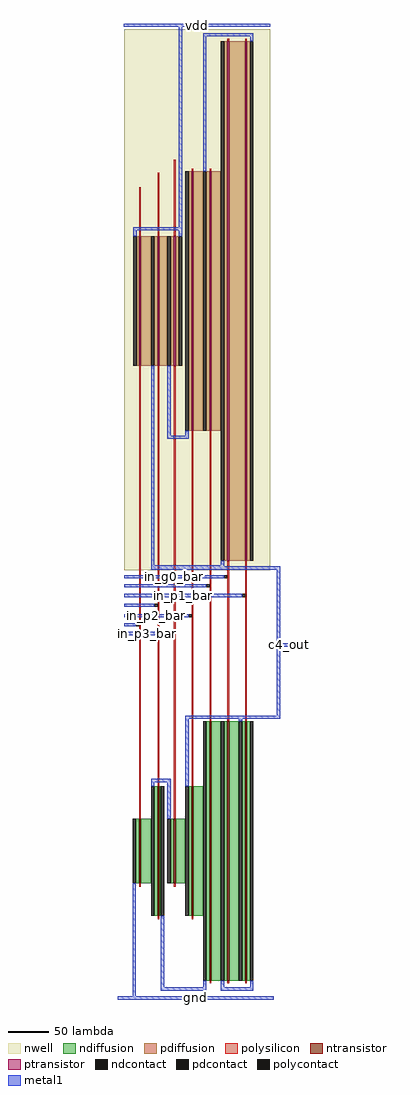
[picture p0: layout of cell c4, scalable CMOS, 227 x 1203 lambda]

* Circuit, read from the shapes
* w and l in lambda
.subckt c4 c4_out gnd in_g0_bar in_g1_bar in_g2_bar in_g3_bar in_p1_bar in_p2_bar in_p3_bar vdd
M1 n1 in_g3_bar gnd VSUBS nfet w=80 l=2
M2 n2 in_g2_bar n1 VSUBS nfet w=160 l=2
M3 c4_out in_p3_bar n1 VSUBS nfet w=80 l=2
M4 n2 in_p2_bar c4_out VSUBS nfet w=160 l=2
M5 n3 in_g1_bar n2 VSUBS nfet w=320 l=2
M6 c4_out in_g0_bar n3 VSUBS nfet w=320 l=2
M7 n3 in_p1_bar c4_out VSUBS nfet w=320 l=2
M8 c4_out in_g3_bar vdd n4 pfet w=160 l=2
M9 n5 in_g2_bar c4_out n4 pfet w=160 l=2
M10 vdd in_p3_bar n5 n4 pfet w=160 l=2
M11 n6 in_p2_bar n5 n4 pfet w=320 l=2
M12 c4_out in_g1_bar n6 n4 pfet w=320 l=2
M13 n7 in_g0_bar c4_out n4 pfet w=640 l=2
M14 n6 in_p1_bar n7 n4 pfet w=640 l=2
.ends

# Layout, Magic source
magic
tech scmos
<< nwell >>
rect -67 -12 113 655
<< ntransistor >>
rect -49 -398 -47 -318
rect -26 -438 -24 -278
rect -6 -398 -4 -318
rect 16 -438 18 -278
rect 38 -518 40 -198
rect 60 -518 62 -198
rect 82 -518 84 -198
<< ptransistor >>
rect -49 240 -47 400
rect -26 240 -24 400
rect -6 240 -4 400
rect 16 160 18 480
rect 38 160 40 480
rect 60 0 62 640
rect 82 0 84 640
<< ndiffusion >>
rect -53 -398 -49 -318
rect -47 -398 -34 -318
rect -30 -438 -26 -278
rect -24 -438 -22 -278
rect -10 -398 -6 -318
rect -4 -398 8 -318
rect 12 -438 16 -278
rect 18 -438 30 -278
rect 34 -518 38 -198
rect 40 -518 52 -198
rect 56 -518 60 -198
rect 62 -518 74 -198
rect 78 -518 82 -198
rect 84 -518 88 -198
<< pdiffusion >>
rect -52 240 -49 400
rect -47 240 -34 400
rect -30 240 -26 400
rect -24 240 -14 400
rect -10 240 -6 400
rect -4 240 0 400
rect 12 160 16 480
rect 18 160 30 480
rect 34 160 38 480
rect 40 160 52 480
rect 56 0 60 640
rect 62 0 82 640
rect 84 0 88 640
<< ndcontact >>
rect -57 -398 -53 -318
rect -34 -438 -30 -278
rect -22 -438 -18 -278
rect -14 -398 -10 -318
rect 8 -438 12 -278
rect 30 -518 34 -198
rect 52 -518 56 -198
rect 74 -518 78 -198
rect 88 -518 92 -198
<< pdcontact >>
rect -56 240 -52 400
rect -34 240 -30 400
rect -14 240 -10 400
rect 0 240 4 400
rect 8 160 12 480
rect 30 160 34 480
rect 52 0 56 640
rect 88 0 92 640
<< polysilicon >>
rect 60 640 62 643
rect 82 640 84 643
rect -49 400 -47 460
rect -26 400 -24 478
rect -6 400 -4 494
rect 16 480 18 483
rect 38 480 40 483
rect -49 -318 -47 240
rect -26 -278 -24 240
rect -49 -402 -47 -398
rect -6 -318 -4 240
rect 16 -278 18 160
rect 38 -198 40 160
rect 60 -198 62 0
rect 82 -198 84 0
rect -6 -402 -4 -398
rect -26 -442 -24 -438
rect 16 -442 18 -438
rect 38 -521 40 -518
rect 60 -521 62 -518
rect 82 -521 84 -518
<< polycontact >>
rect -53 -81 -49 -77
rect -30 -57 -26 -53
rect -10 -92 -6 -88
rect 12 -70 16 -66
rect 34 -33 38 -29
rect 56 -22 60 -18
rect 78 -45 82 -41
<< metal1 >>
rect -68 658 113 662
rect 0 411 4 658
rect 30 646 92 650
rect 30 480 34 646
rect 88 640 92 646
rect -56 407 4 411
rect -56 400 -52 407
rect 0 400 4 407
rect -34 -6 -30 240
rect -14 154 -10 240
rect 8 154 12 160
rect -14 150 12 154
rect 52 -6 56 0
rect -34 -7 56 -6
rect -34 -11 125 -7
rect -67 -22 56 -18
rect -67 -33 34 -29
rect -67 -45 78 -41
rect -67 -57 -30 -53
rect -67 -70 12 -66
rect -67 -81 -53 -77
rect -67 -92 -10 -88
rect 121 -102 125 -11
rect 121 -106 152 -102
rect 121 -191 125 -106
rect 8 -195 125 -191
rect -34 -273 -10 -269
rect -34 -278 -30 -273
rect -57 -537 -53 -398
rect -14 -318 -10 -273
rect 8 -278 12 -195
rect 74 -198 78 -195
rect -22 -526 -18 -438
rect 30 -526 34 -518
rect -22 -530 34 -526
rect 52 -526 56 -518
rect 88 -526 92 -518
rect 52 -530 92 -526
rect -75 -541 117 -537
<< labels >>
rlabel metal1 -68 658 113 662 5 vdd
rlabel metal1 -75 -541 117 -537 1 gnd
rlabel metal1 121 -106 152 -102 1 c4_out
rlabel metal1 -67 -22 56 -18 1 in_g0_bar
rlabel metal1 -67 -33 34 -29 1 in_g1_bar
rlabel metal1 -67 -45 78 -41 1 in_p1_bar
rlabel metal1 -67 -57 -30 -53 1 in_g2_bar
rlabel metal1 -67 -70 12 -66 1 in_p2_bar
rlabel metal1 -67 -81 -53 -77 1 in_g3_bar
rlabel metal1 -67 -92 -10 -88 1 in_p3_bar
<< end >>
